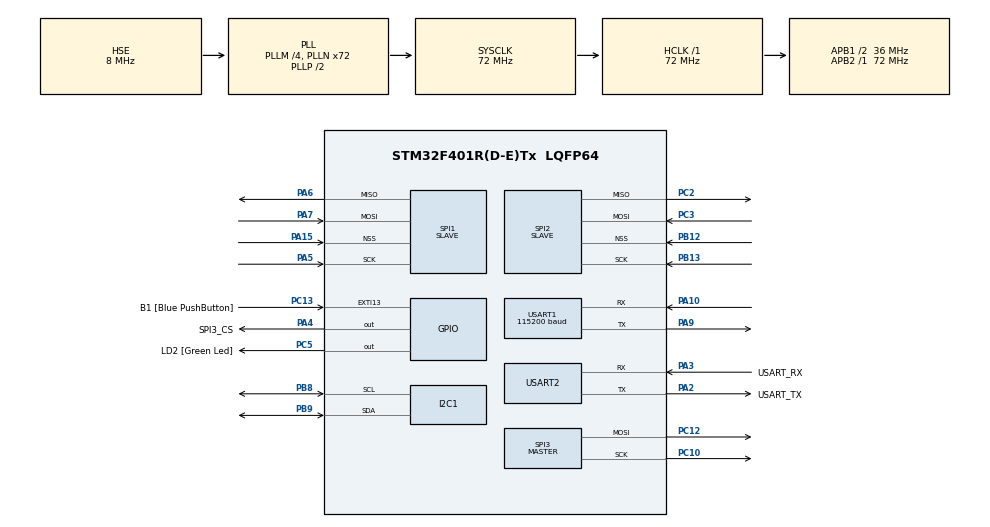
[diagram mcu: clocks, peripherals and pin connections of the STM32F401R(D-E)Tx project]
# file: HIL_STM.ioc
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FREERTOS.Tasks01=defaultTask,24,128,StartDefaultTask,Default,NULL,Dynamic,NULL,NULL
I2C1.DualAddressMode=I2C_DUALADDRESS_ENABLE
I2C1.I2C_Mode=I2C_Standard
I2C1.NoStretchMode=I2C_NOSTRETCH_DISABLE
I2C1.OwnAddress=0x20
I2C1.OwnAddress2=0x36
Mcu.Family=STM32F4
Mcu.Name=STM32F401R(D-E)Tx
Mcu.Package=LQFP64
NVIC.EXTI15_10_IRQn=true\:5\:0\:false\:false\:true\:true\:true\:true\:true
NVIC.I2C1_ER_IRQn=true\:5\:0\:false\:false\:true\:true\:true\:true\:true
NVIC.I2C1_EV_IRQn=true\:5\:0\:false\:false\:true\:true\:true\:true\:true
NVIC.PriorityGroup=NVIC_PRIORITYGROUP_4
NVIC.SPI1_IRQn=true\:5\:0\:false\:false\:true\:true\:true\:true\:true
NVIC.SPI2_IRQn=true\:5\:0\:false\:false\:true\:true\:true\:true\:true
NVIC.SPI3_IRQn=true\:5\:0\:false\:false\:true\:true\:true\:true\:true
NVIC.TIM1_UP_TIM10_IRQn=true\:15\:0\:false\:false\:true\:false\:false\:true\:true
NVIC.TIM3_IRQn=true\:5\:0\:false\:false\:true\:true\:true\:true\:true
NVIC.TIM4_IRQn=true\:5\:0\:false\:false\:true\:true\:true\:true\:true
NVIC.TimeBase=TIM1_UP_TIM10_IRQn
NVIC.TimeBaseIP=TIM1
NVIC.USART1_IRQn=true\:5\:0\:false\:false\:true\:true\:true\:true\:true
PA10.Mode=Asynchronous
PA10.Signal=USART1_RX
PA13.GPIO_Label=TMS
PA13.Mode=Serial_Wire
PA13.Signal=SYS_JTMS-SWDIO
PA14.GPIO_Label=TCK
PA14.Mode=Serial_Wire
PA14.Signal=SYS_JTCK-SWCLK
PA15.Mode=NSS_Signal_Hard_Input
PA15.Signal=SPI1_NSS
PA2.GPIO_Label=USART_TX
PA2.GPIO_Mode=GPIO_MODE_AF_PP
PA2.GPIO_PuPd=GPIO_NOPULL
PA2.GPIO_Speed=GPIO_SPEED_FREQ_LOW
PA2.Mode=Asynchronous
PA2.Signal=USART2_TX
PA3.GPIO_Label=USART_RX
PA3.GPIO_Mode=GPIO_MODE_AF_PP
PA3.GPIO_PuPd=GPIO_NOPULL
PA3.GPIO_Speed=GPIO_SPEED_FREQ_LOW
PA3.Mode=Asynchronous
PA3.Signal=USART2_RX
PA4.GPIO_Label=SPI3_CS
PA4.GPIO_Speed=GPIO_SPEED_FREQ_VERY_HIGH
PA4.PinState=GPIO_PIN_SET
PA4.Signal=GPIO_Output
PA5.Mode=Full_Duplex_Slave
PA5.Signal=SPI1_SCK
PA6.Mode=Full_Duplex_Slave
PA6.Signal=SPI1_MISO
PA7.Mode=Full_Duplex_Slave
PA7.Signal=SPI1_MOSI
PA9.Mode=Asynchronous
PA9.Signal=USART1_TX
PB12.Mode=NSS_Signal_Hard_Input
PB12.Signal=SPI2_NSS
PB13.Mode=Full_Duplex_Slave
PB13.Signal=SPI2_SCK
PB3.GPIO_Label=SWO
PB3.Signal=SYS_JTDO-SWO
PB8.Mode=I2C
PB8.Signal=I2C1_SCL
PB9.Mode=I2C
PB9.Signal=I2C1_SDA
PC10.Mode=TX_Only_Simplex_Unidirect_Master
PC10.Signal=SPI3_SCK
PC12.Mode=TX_Only_Simplex_Unidirect_Master
PC12.Signal=SPI3_MOSI
PC13-ANTI_TAMP.GPIO_Label=B1 [Blue PushButton]
PC13-ANTI_TAMP.GPIO_ModeDefaultEXTI=GPIO_MODE_IT_FALLING
PC13-ANTI_TAMP.GPIO_PuPd=GPIO_NOPULL
PC13-ANTI_TAMP.Signal=GPXTI13
PC14-OSC32_IN.Mode=LSE-External-Oscillator
PC14-OSC32_IN.Signal=RCC_OSC32_IN
PC15-OSC32_OUT.Mode=LSE-External-Oscillator
PC15-OSC32_OUT.Signal=RCC_OSC32_OUT
PC2.Mode=Full_Duplex_Slave
PC2.Signal=SPI2_MISO
PC3.Mode=Full_Duplex_Slave
PC3.Signal=SPI2_MOSI
PC5.GPIO_Label=LD2 [Green Led]
PC5.GPIO_PuPd=GPIO_NOPULL
PC5.GPIO_Speed=GPIO_SPEED_FREQ_LOW
PC5.Signal=GPIO_Output
PH0\ -\ OSC_IN.Mode=HSE-External-Oscillator
PH0\ -\ OSC_IN.Signal=RCC_OSC_IN
PH1\ -\ OSC_OUT.Mode=HSE-External-Oscillator
PH1\ -\ OSC_OUT.Signal=RCC_OSC_OUT
ProjectManager.HeapSize=0x200
ProjectManager.StackSize=0x400
ProjectManager.TargetToolchain=STM32CubeIDE
RCC.48MHZClocksFreq_Value=48000000
RCC.AHBFreq_Value=72000000
RCC.APB1CLKDivider=RCC_HCLK_DIV2
RCC.APB1Freq_Value=36000000
RCC.APB1TimFreq_Value=72000000
RCC.APB2Freq_Value=72000000
RCC.APB2TimFreq_Value=72000000
RCC.CortexFreq_Value=72000000
RCC.HCLKFreq_Value=72000000
RCC.HSE_VALUE=8000000
RCC.HSI_VALUE=16000000
RCC.PLLM=4
RCC.PLLN=72
RCC.PLLQ=3
RCC.PLLSourceVirtual=RCC_PLLSOURCE_HSE
RCC.SYSCLKFreq_VALUE=72000000
RCC.SYSCLKSource=RCC_SYSCLKSOURCE_PLLCLK
RCC.VCOOutputFreq_Value=144000000
SPI1.CLKPhase=SPI_PHASE_2EDGE
SPI1.CLKPolarity=SPI_POLARITY_HIGH
SPI1.Direction=SPI_DIRECTION_2LINES
SPI1.Mode=SPI_MODE_SLAVE
SPI1.VirtualNSS=VM_NSSHARD
SPI1.VirtualType=VM_SLAVE
SPI2.CLKPhase=SPI_PHASE_1EDGE
SPI2.Direction=SPI_DIRECTION_2LINES
SPI2.Mode=SPI_MODE_SLAVE
SPI2.TIMode=SPI_TIMODE_DISABLE
SPI2.VirtualNSS=VM_NSSHARD
SPI2.VirtualType=VM_SLAVE
SPI3.Direction=SPI_DIRECTION_2LINES
SPI3.Mode=SPI_MODE_MASTER
SPI3.VirtualType=VM_MASTER
TIM3.Period=7
TIM3.Prescaler=49
TIM4.Period=69
TIM4.Prescaler=49
USART1.BaudRate=115200
USART1.VirtualMode=VM_ASYNC
USART2.VirtualMode=VM_ASYNC
VP_FREERTOS_VS_CMSIS_V2.Mode=CMSIS_V2
VP_SYS_VS_tim1.Mode=TIM1
VP_TIM3_VS_ClockSourceINT.Mode=Internal
VP_TIM4_VS_ClockSourceINT.Mode=Internal
board=NUCLEO-F401RE

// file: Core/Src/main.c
/* USER CODE BEGIN Header */
/**
 ******************************************************************************
 * @file           : main.c
 * @brief          : Main program body
 ******************************************************************************
 * @attention
 *
 * Copyright (c) 2025 STMicroelectronics.
 * All rights reserved.
 *
 * This software is licensed under terms that can be found in the LICENSE file
 * in the root directory of this software component.
 * If no LICENSE file comes with this software, it is provided AS-IS.
 *
 ******************************************************************************
 */
/* USER CODE END Header */
#include "main.h"
#include "cmsis_os.h"

/* USER CODE BEGIN Includes */
#include "i2c_slave.h"
#include "spi_slave.h"
#include "spi_master.h"

#include "max17261.h"
#include "pca9555.h"
#include "mcp2515.h"
#include "ltc6811.h"
#include "mcp4811.h"

#include "i2c_spi_periphs_control.h"

#include "uart_control.h"
#include "proto_processing.h"

#include <pb_encode.h>
#include <pb_decode.h>
#include "set_board_response.pb.h"
#include "update_event_message.pb.h"

#include <stdint.h>
#include <stdbool.h>
/* USER CODE END Includes */

I2C_HandleTypeDef hi2c1;

TIM_HandleTypeDef htim3;
TIM_HandleTypeDef htim4;

UART_HandleTypeDef huart1;
UART_HandleTypeDef huart2;

/* Definitions for defaultTask */
osThreadId_t defaultTaskHandle;
const osThreadAttr_t defaultTask_attributes = {
  .name = "defaultTask",
  .stack_size = 128 * 4,
  .priority = (osPriority_t) osPriorityNormal,
};
/* USER CODE BEGIN PV */
TaskHandle_t board_task;
Board_Control board_control;
/* USER CODE END PV */

void SystemClock_Config(void);
static void MX_GPIO_Init(void);
static void MX_USART2_UART_Init(void);
static void MX_I2C1_Init(void);
static void MX_SPI2_Init(void);
static void MX_TIM3_Init(void);
static void MX_USART1_UART_Init(void);
static void MX_SPI3_Init(void);
static void MX_SPI1_Init(void);
static void MX_TIM4_Init(void);
void StartDefaultTask(void *argument);

/* USER CODE BEGIN PFP */
GPIO_Pin ltc6811_cs_pin;
/* USER CODE END PFP */

int main(void)
{

  /* MCU Configuration--------------------------------------------------------*/

  /* Reset of all peripherals, Initializes the Flash interface and the Systick. */
  HAL_Init();

  /* Configure the system clock */
  SystemClock_Config();

  /* Initialize all configured peripherals */
  MX_GPIO_Init();
  MX_USART2_UART_Init();
  MX_I2C1_Init();
  MX_SPI2_Init();
  MX_TIM3_Init();
  MX_USART1_UART_Init();
  MX_SPI3_Init();
  MX_SPI1_Init();
  MX_TIM4_Init();
  /* USER CODE BEGIN 2 */
  // Testing code here (for reference to init and test APIs) - currently missing SPI -> CAN Test Code
  // Current Sense Test Code:
  // I2C_Settings max17261_i2c_settings = {.hi2c = &hi2c1, .i2c_slave_address = MAX17261_I2C_ADDRESS, .i2c_slave_id = I2C_PORT_1};
  // I2C_Storage max17261_i2c_storage;
  // MAX17261_Settings max17261_settings = {.i2c_settings = &max17261_i2c_settings, .i2c_storage = &max17261_i2c_storage};
  // MAX17261_Storage max17261_storage;
  // max17261_init(&max17261_settings, &max17261_storage);

  // GPIO Expander Test Code:
  // I2C_Settings pca9555_i2c_settings = {.hi2c = &hi2c1, .i2c_slave_address = PCA9555_I2C_ADDRESS, .i2c_slave_id = I2C_PORT_2};
  // I2C_Storage pca9555_i2c_storage;
  // PCA9555_Settings pca9555_settings = {.i2c_settings = &pca9555_i2c_settings, .i2c_storage = &pca9555_i2c_storage};
  // PCA9555_Storage pca9555_storage;
  // pca9555_init(&pca9555_settings, &pca9555_storage);

  // AFE Test Code:
  // ltc6811_cs_pin.gpio_port = SPI1_CS_GPIO_Port;
  // ltc6811_cs_pin.gpio_pin = SPI1_CS_Pin;
  // SPI_Settings spi_settings = {.spi_handle = SPI1, .spi_port = SPI_PORT_1, .timer_handle = &htim4, .cs_pin = &ltc6811_cs_pin};
  // SPI_Storage spi_storage;
  // LTC6811_Settings ltc6811_settings = {.spi_settings = &spi_settings, .spi_storage = &spi_storage};
  // LTC6811_Storage ltc6811_storage;
  // ltc6811_init(&ltc6811_settings, &ltc6811_storage);

  // UART connection with RPi Test Code:
  //  UART_Settings uart_settings;
  //  UART_Control uart_control = {.huart = &huart1, .uart_settings = &uart_settings};
  //  uart_control_rx_init(&uart_control, NULL);
  //  uart_control_rx_start(&uart_control);

  //  uint8_t buffer_to_encode[MIN_I2C_WRITE_UPDATE_EVENT_BUFFER_SIZE];
  //  I2C_Write_Update_Event i2c_update = {.peripheral_to_update = BMS, .i2c_address =  MAX17261_I2C_ADDRESS, .register_to_update = 0xD8, .value_to_write = 0xA1B2};
  //  Proto_Encode_Storage storage = {.buffer_to_encode = buffer_to_encode, .buffer_to_encode_length = sizeof(buffer_to_encode)};
  //  proto_process_encode_i2c_write_update_event(&i2c_update, &storage);

  //  uart_control_tx_add_end_line(buffer_to_encode, storage.encoded_buffer_length);
  //  uart_settings.tx_data = buffer_to_encode;
  //  uart_settings.bytes_to_send = storage.encoded_buffer_length + 1;
  //  while (1)
  //  {
  //    uart_control_tx(&uart_settings);
  //    HAL_Delay(1000);
  //  }

  // board_control.board_control_task = &board_task;
  // board_control.huart = &huart1;
  // board_control_init(&board_control);

  // DAC Test Code:
  //  GPIO_Pin mcp4811_cs_pin = {.gpio_port = SPI3_CS_GPIO_Port, .gpio_pin = SPI3_CS_Pin};
  //  SPI_Settings mcp4811_spi_settings = {.spi_handle = SPI3, .spi_port = SPI_PORT_3, .cs_pin = &mcp4811_cs_pin};
  //  MCP4811_Settings mcp4811_settings = {.spi_settings = &mcp4811_spi_settings};
  //  MCP4811_Storage mcp4811_storage;
  //  mcp4811_init(&mcp4811_settings, &mcp4811_storage);
  //  float voltage = 0.5;
  //  for (uint8_t i = 0; i < 9; i++) {
  //	  float voltage_to_set = voltage * i;
  //	  mcp4811_set_voltage(&mcp4811_settings, &mcp4811_storage, voltage_to_set);
  //  }
  //  mcp4811_shutdown_dac(&mcp4811_settings, &mcp4811_storage);
  /* USER CODE END 2 */

  /* Init scheduler */
//  osKernelInitialize();

  /* Create the thread(s) */
  /* creation of defaultTask */
//  defaultTaskHandle = osThreadNew(StartDefaultTask, NULL, &defaultTask_attributes);

  /* Start scheduler */
//  osKernelStart();
  /* We should never get here as control is now taken by the scheduler */
  /* Infinite loop */
  /* USER CODE BEGIN WHILE */
  vTaskStartScheduler();

  while (1)
  {
    /* USER CODE END WHILE */

  }
}

void SystemClock_Config(void)
{
  RCC_OscInitTypeDef RCC_OscInitStruct = {0};
  RCC_ClkInitTypeDef RCC_ClkInitStruct = {0};

  /** Configure the main internal regulator output voltage
  */
  __HAL_RCC_PWR_CLK_ENABLE();
  __HAL_PWR_VOLTAGESCALING_CONFIG(PWR_REGULATOR_VOLTAGE_SCALE2);

  /** Initializes the RCC Oscillators according to the specified parameters
  * in the RCC_OscInitTypeDef structure.
  */
  RCC_OscInitStruct.OscillatorType = RCC_OSCILLATORTYPE_HSE;
  RCC_OscInitStruct.HSEState = RCC_HSE_ON;
  RCC_OscInitStruct.PLL.PLLState = RCC_PLL_ON;
  RCC_OscInitStruct.PLL.PLLSource = RCC_PLLSOURCE_HSE;
  RCC_OscInitStruct.PLL.PLLM = 4;
  RCC_OscInitStruct.PLL.PLLN = 72;
  RCC_OscInitStruct.PLL.PLLP = RCC_PLLP_DIV2;
  RCC_OscInitStruct.PLL.PLLQ = 3;
  if (HAL_RCC_OscConfig(&RCC_OscInitStruct) != HAL_OK)
  {
    Error_Handler();
  }

  /** Initializes the CPU, AHB and APB buses clocks
  */
  RCC_ClkInitStruct.ClockType = RCC_CLOCKTYPE_HCLK|RCC_CLOCKTYPE_SYSCLK
                              |RCC_CLOCKTYPE_PCLK1|RCC_CLOCKTYPE_PCLK2;
  RCC_ClkInitStruct.SYSCLKSource = RCC_SYSCLKSOURCE_PLLCLK;
  RCC_ClkInitStruct.AHBCLKDivider = RCC_SYSCLK_DIV1;
  RCC_ClkInitStruct.APB1CLKDivider = RCC_HCLK_DIV2;
  RCC_ClkInitStruct.APB2CLKDivider = RCC_HCLK_DIV1;

  if (HAL_RCC_ClockConfig(&RCC_ClkInitStruct, FLASH_LATENCY_2) != HAL_OK)
  {
    Error_Handler();
  }
}

static void MX_I2C1_Init(void)
{

  hi2c1.Instance = I2C1;
  hi2c1.Init.ClockSpeed = 100000;
  hi2c1.Init.DutyCycle = I2C_DUTYCYCLE_2;
  hi2c1.Init.OwnAddress1 = 64;
  hi2c1.Init.AddressingMode = I2C_ADDRESSINGMODE_7BIT;
  hi2c1.Init.DualAddressMode = I2C_DUALADDRESS_ENABLE;
  hi2c1.Init.OwnAddress2 = 108;
  hi2c1.Init.GeneralCallMode = I2C_GENERALCALL_DISABLE;
  hi2c1.Init.NoStretchMode = I2C_NOSTRETCH_DISABLE;
  if (HAL_I2C_Init(&hi2c1) != HAL_OK)
  {
    Error_Handler();
  }

}

static void MX_SPI1_Init(void)
{

  LL_SPI_InitTypeDef SPI_InitStruct = {0};

  LL_GPIO_InitTypeDef GPIO_InitStruct = {0};

  /* Peripheral clock enable */
  LL_APB2_GRP1_EnableClock(LL_APB2_GRP1_PERIPH_SPI1);

  LL_AHB1_GRP1_EnableClock(LL_AHB1_GRP1_PERIPH_GPIOA);
  /**SPI1 GPIO Configuration
  PA5   ------> SPI1_SCK
  PA6   ------> SPI1_MISO
  PA7   ------> SPI1_MOSI
  PA15   ------> SPI1_NSS
  */
  GPIO_InitStruct.Pin = LL_GPIO_PIN_5|LL_GPIO_PIN_6|LL_GPIO_PIN_7|LL_GPIO_PIN_15;
  GPIO_InitStruct.Mode = LL_GPIO_MODE_ALTERNATE;
  GPIO_InitStruct.Speed = LL_GPIO_SPEED_FREQ_VERY_HIGH;
  GPIO_InitStruct.OutputType = LL_GPIO_OUTPUT_PUSHPULL;
  GPIO_InitStruct.Pull = LL_GPIO_PULL_NO;
  GPIO_InitStruct.Alternate = LL_GPIO_AF_5;
  LL_GPIO_Init(GPIOA, &GPIO_InitStruct);

  /* SPI1 interrupt Init */
  NVIC_SetPriority(SPI1_IRQn, NVIC_EncodePriority(NVIC_GetPriorityGrouping(),5, 0));
  NVIC_EnableIRQ(SPI1_IRQn);

  /* SPI1 parameter configuration*/
  SPI_InitStruct.TransferDirection = LL_SPI_FULL_DUPLEX;
  SPI_InitStruct.Mode = LL_SPI_MODE_SLAVE;
  SPI_InitStruct.DataWidth = LL_SPI_DATAWIDTH_8BIT;
  SPI_InitStruct.ClockPolarity = LL_SPI_POLARITY_HIGH;
  SPI_InitStruct.ClockPhase = LL_SPI_PHASE_2EDGE;
  SPI_InitStruct.NSS = LL_SPI_NSS_HARD_INPUT;
  SPI_InitStruct.BitOrder = LL_SPI_MSB_FIRST;
  SPI_InitStruct.CRCCalculation = LL_SPI_CRCCALCULATION_DISABLE;
  SPI_InitStruct.CRCPoly = 10;
  LL_SPI_Init(SPI1, &SPI_InitStruct);
  LL_SPI_SetStandard(SPI1, LL_SPI_PROTOCOL_MOTOROLA);

}

static void MX_SPI2_Init(void)
{

  LL_SPI_InitTypeDef SPI_InitStruct = {0};

  LL_GPIO_InitTypeDef GPIO_InitStruct = {0};

  /* Peripheral clock enable */
  LL_APB1_GRP1_EnableClock(LL_APB1_GRP1_PERIPH_SPI2);

  LL_AHB1_GRP1_EnableClock(LL_AHB1_GRP1_PERIPH_GPIOC);
  LL_AHB1_GRP1_EnableClock(LL_AHB1_GRP1_PERIPH_GPIOB);
  /**SPI2 GPIO Configuration
  PC2   ------> SPI2_MISO
  PC3   ------> SPI2_MOSI
  PB12   ------> SPI2_NSS
  PB13   ------> SPI2_SCK
  */
  GPIO_InitStruct.Pin = LL_GPIO_PIN_2|LL_GPIO_PIN_3;
  GPIO_InitStruct.Mode = LL_GPIO_MODE_ALTERNATE;
  GPIO_InitStruct.Speed = LL_GPIO_SPEED_FREQ_VERY_HIGH;
  GPIO_InitStruct.OutputType = LL_GPIO_OUTPUT_PUSHPULL;
  GPIO_InitStruct.Pull = LL_GPIO_PULL_NO;
  GPIO_InitStruct.Alternate = LL_GPIO_AF_5;
  LL_GPIO_Init(GPIOC, &GPIO_InitStruct);

  GPIO_InitStruct.Pin = LL_GPIO_PIN_12|LL_GPIO_PIN_13;
  GPIO_InitStruct.Mode = LL_GPIO_MODE_ALTERNATE;
  GPIO_InitStruct.Speed = LL_GPIO_SPEED_FREQ_VERY_HIGH;
  GPIO_InitStruct.OutputType = LL_GPIO_OUTPUT_PUSHPULL;
  GPIO_InitStruct.Pull = LL_GPIO_PULL_NO;
  GPIO_InitStruct.Alternate = LL_GPIO_AF_5;
  LL_GPIO_Init(GPIOB, &GPIO_InitStruct);

  /* SPI2 interrupt Init */
  NVIC_SetPriority(SPI2_IRQn, NVIC_EncodePriority(NVIC_GetPriorityGrouping(),5, 0));
  NVIC_EnableIRQ(SPI2_IRQn);

  /* SPI2 parameter configuration*/
  SPI_InitStruct.TransferDirection = LL_SPI_FULL_DUPLEX;
  SPI_InitStruct.Mode = LL_SPI_MODE_SLAVE;
  SPI_InitStruct.DataWidth = LL_SPI_DATAWIDTH_8BIT;
  SPI_InitStruct.ClockPolarity = LL_SPI_POLARITY_LOW;
  SPI_InitStruct.ClockPhase = LL_SPI_PHASE_1EDGE;
  SPI_InitStruct.NSS = LL_SPI_NSS_HARD_INPUT;
  SPI_InitStruct.BitOrder = LL_SPI_MSB_FIRST;
  SPI_InitStruct.CRCCalculation = LL_SPI_CRCCALCULATION_DISABLE;
  SPI_InitStruct.CRCPoly = 10;
  LL_SPI_Init(SPI2, &SPI_InitStruct);
  LL_SPI_SetStandard(SPI2, LL_SPI_PROTOCOL_MOTOROLA);

}

static void MX_SPI3_Init(void)
{

  LL_SPI_InitTypeDef SPI_InitStruct = {0};

  LL_GPIO_InitTypeDef GPIO_InitStruct = {0};

  /* Peripheral clock enable */
  LL_APB1_GRP1_EnableClock(LL_APB1_GRP1_PERIPH_SPI3);

  LL_AHB1_GRP1_EnableClock(LL_AHB1_GRP1_PERIPH_GPIOC);
  /**SPI3 GPIO Configuration
  PC10   ------> SPI3_SCK
  PC12   ------> SPI3_MOSI
  */
  GPIO_InitStruct.Pin = LL_GPIO_PIN_10|LL_GPIO_PIN_12;
  GPIO_InitStruct.Mode = LL_GPIO_MODE_ALTERNATE;
  GPIO_InitStruct.Speed = LL_GPIO_SPEED_FREQ_VERY_HIGH;
  GPIO_InitStruct.OutputType = LL_GPIO_OUTPUT_PUSHPULL;
  GPIO_InitStruct.Pull = LL_GPIO_PULL_NO;
  GPIO_InitStruct.Alternate = LL_GPIO_AF_6;
  LL_GPIO_Init(GPIOC, &GPIO_InitStruct);

  /* SPI3 interrupt Init */
  NVIC_SetPriority(SPI3_IRQn, NVIC_EncodePriority(NVIC_GetPriorityGrouping(),5, 0));
  NVIC_EnableIRQ(SPI3_IRQn);

  /* SPI3 parameter configuration*/
  SPI_InitStruct.TransferDirection = LL_SPI_FULL_DUPLEX;
  SPI_InitStruct.Mode = LL_SPI_MODE_MASTER;
  SPI_InitStruct.DataWidth = LL_SPI_DATAWIDTH_8BIT;
  SPI_InitStruct.ClockPolarity = LL_SPI_POLARITY_LOW;
  SPI_InitStruct.ClockPhase = LL_SPI_PHASE_1EDGE;
  SPI_InitStruct.NSS = LL_SPI_NSS_SOFT;
  SPI_InitStruct.BaudRate = LL_SPI_BAUDRATEPRESCALER_DIV2;
  SPI_InitStruct.BitOrder = LL_SPI_MSB_FIRST;
  SPI_InitStruct.CRCCalculation = LL_SPI_CRCCALCULATION_DISABLE;
  SPI_InitStruct.CRCPoly = 10;
  LL_SPI_Init(SPI3, &SPI_InitStruct);
  LL_SPI_SetStandard(SPI3, LL_SPI_PROTOCOL_MOTOROLA);

}

static void MX_TIM3_Init(void)
{

  TIM_ClockConfigTypeDef sClockSourceConfig = {0};
  TIM_MasterConfigTypeDef sMasterConfig = {0};

  htim3.Instance = TIM3;
  htim3.Init.Prescaler = 49;
  htim3.Init.CounterMode = TIM_COUNTERMODE_UP;
  htim3.Init.Period = 7;
  htim3.Init.ClockDivision = TIM_CLOCKDIVISION_DIV1;
  htim3.Init.AutoReloadPreload = TIM_AUTORELOAD_PRELOAD_DISABLE;
  if (HAL_TIM_Base_Init(&htim3) != HAL_OK)
  {
    Error_Handler();
  }
  sClockSourceConfig.ClockSource = TIM_CLOCKSOURCE_INTERNAL;
  if (HAL_TIM_ConfigClockSource(&htim3, &sClockSourceConfig) != HAL_OK)
  {
    Error_Handler();
  }
  sMasterConfig.MasterOutputTrigger = TIM_TRGO_RESET;
  sMasterConfig.MasterSlaveMode = TIM_MASTERSLAVEMODE_DISABLE;
  if (HAL_TIMEx_MasterConfigSynchronization(&htim3, &sMasterConfig) != HAL_OK)
  {
    Error_Handler();
  }

}

static void MX_TIM4_Init(void)
{

  TIM_ClockConfigTypeDef sClockSourceConfig = {0};
  TIM_MasterConfigTypeDef sMasterConfig = {0};

  htim4.Instance = TIM4;
  htim4.Init.Prescaler = 49;
  htim4.Init.CounterMode = TIM_COUNTERMODE_UP;
  htim4.Init.Period = 69;
  htim4.Init.ClockDivision = TIM_CLOCKDIVISION_DIV1;
  htim4.Init.AutoReloadPreload = TIM_AUTORELOAD_PRELOAD_DISABLE;
  if (HAL_TIM_Base_Init(&htim4) != HAL_OK)
  {
    Error_Handler();
  }
  sClockSourceConfig.ClockSource = TIM_CLOCKSOURCE_INTERNAL;
  if (HAL_TIM_ConfigClockSource(&htim4, &sClockSourceConfig) != HAL_OK)
  {
    Error_Handler();
  }
  sMasterConfig.MasterOutputTrigger = TIM_TRGO_RESET;
  sMasterConfig.MasterSlaveMode = TIM_MASTERSLAVEMODE_DISABLE;
  if (HAL_TIMEx_MasterConfigSynchronization(&htim4, &sMasterConfig) != HAL_OK)
  {
    Error_Handler();
  }

}

static void MX_USART1_UART_Init(void)
{

  huart1.Instance = USART1;
  huart1.Init.BaudRate = 115200;
  huart1.Init.WordLength = UART_WORDLENGTH_8B;
  huart1.Init.StopBits = UART_STOPBITS_1;
  huart1.Init.Parity = UART_PARITY_NONE;
  huart1.Init.Mode = UART_MODE_TX_RX;
  huart1.Init.HwFlowCtl = UART_HWCONTROL_NONE;
  huart1.Init.OverSampling = UART_OVERSAMPLING_16;
  if (HAL_UART_Init(&huart1) != HAL_OK)
  {
    Error_Handler();
  }

}

static void MX_USART2_UART_Init(void)
{

  huart2.Instance = USART2;
  huart2.Init.BaudRate = 115200;
  huart2.Init.WordLength = UART_WORDLENGTH_8B;
  huart2.Init.StopBits = UART_STOPBITS_1;
  huart2.Init.Parity = UART_PARITY_NONE;
  huart2.Init.Mode = UART_MODE_TX_RX;
  huart2.Init.HwFlowCtl = UART_HWCONTROL_NONE;
  huart2.Init.OverSampling = UART_OVERSAMPLING_16;
  if (HAL_UART_Init(&huart2) != HAL_OK)
  {
    Error_Handler();
  }

}

static void MX_GPIO_Init(void)
{
  GPIO_InitTypeDef GPIO_InitStruct = {0};

  /* GPIO Ports Clock Enable */
  __HAL_RCC_GPIOC_CLK_ENABLE();
  __HAL_RCC_GPIOH_CLK_ENABLE();
  __HAL_RCC_GPIOA_CLK_ENABLE();
  __HAL_RCC_GPIOB_CLK_ENABLE();

  /*Configure GPIO pin Output Level */
  HAL_GPIO_WritePin(SPI3_CS_GPIO_Port, SPI3_CS_Pin, GPIO_PIN_SET);

  /*Configure GPIO pin Output Level */
  HAL_GPIO_WritePin(LD2_GPIO_Port, LD2_Pin, GPIO_PIN_RESET);

  /*Configure GPIO pin : B1_Pin */
  GPIO_InitStruct.Pin = B1_Pin;
  GPIO_InitStruct.Mode = GPIO_MODE_IT_FALLING;
  GPIO_InitStruct.Pull = GPIO_NOPULL;
  HAL_GPIO_Init(B1_GPIO_Port, &GPIO_InitStruct);

  /*Configure GPIO pin : SPI3_CS_Pin */
  GPIO_InitStruct.Pin = SPI3_CS_Pin;
  GPIO_InitStruct.Mode = GPIO_MODE_OUTPUT_PP;
  GPIO_InitStruct.Pull = GPIO_NOPULL;
  GPIO_InitStruct.Speed = GPIO_SPEED_FREQ_VERY_HIGH;
  HAL_GPIO_Init(SPI3_CS_GPIO_Port, &GPIO_InitStruct);

  /*Configure GPIO pin : LD2_Pin */
  GPIO_InitStruct.Pin = LD2_Pin;
  GPIO_InitStruct.Mode = GPIO_MODE_OUTPUT_PP;
  GPIO_InitStruct.Pull = GPIO_NOPULL;
  GPIO_InitStruct.Speed = GPIO_SPEED_FREQ_LOW;
  HAL_GPIO_Init(LD2_GPIO_Port, &GPIO_InitStruct);

  /* EXTI interrupt init*/
  HAL_NVIC_SetPriority(EXTI15_10_IRQn, 5, 0);
  HAL_NVIC_EnableIRQ(EXTI15_10_IRQn);

}

void StartDefaultTask(void *argument)
{
  /* USER CODE BEGIN 5 */
  //   /* Infinite loop */
  //   for (;;)
  //   {
  //     osDelay(1);
  //   }
  /* USER CODE END 5 */
}

void HAL_TIM_PeriodElapsedCallback(TIM_HandleTypeDef *htim)
{
  /* USER CODE BEGIN Callback 0 */
  spi_timer_cb(htim);
  /* USER CODE END Callback 0 */
  if (htim->Instance == TIM1) {
    HAL_IncTick();
  }
}

void Error_Handler(void)
{
  __disable_irq();
  while (1)
  {
  }
}
